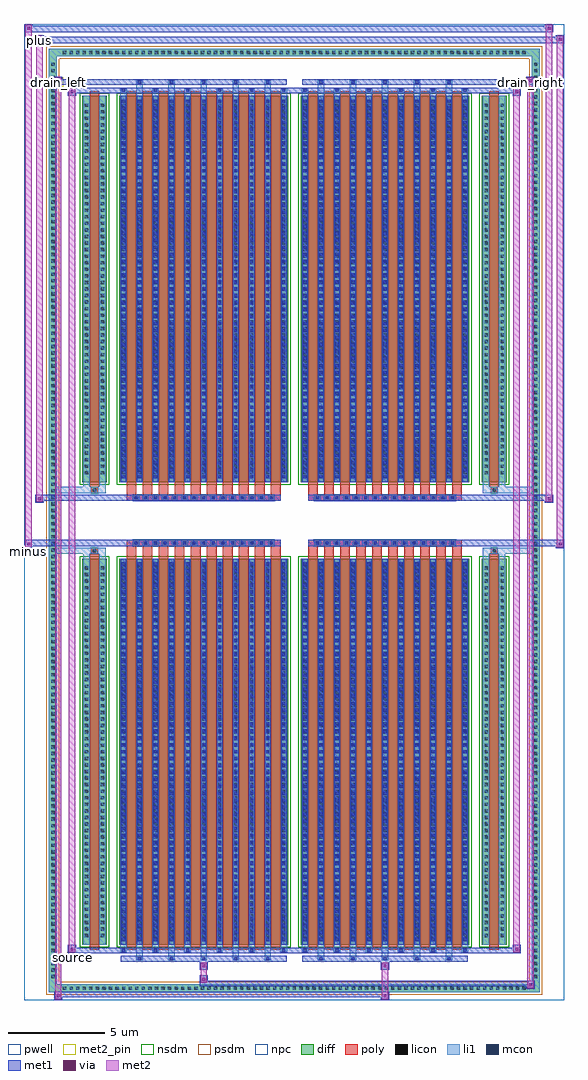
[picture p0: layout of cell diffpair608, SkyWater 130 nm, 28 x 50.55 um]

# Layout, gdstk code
import gdstk
lib = gdstk.Library(unit=1e-6, precision=5e-09)
def R(c, l, rs):  # rectangles x0, y0, x1, y1
    for r in rs: c.add(gdstk.rectangle(r[:2], r[2:], *l))
def A(c, l, x, y, w, h, nx, ny, dx, dy):  # array of equal rectangles
    R(c, l, [(x+i*dx, y+j*dy, x+i*dx+w, y+j*dy+h) for i in range(nx) for j in range(ny)])
def P(c, l, *ps):  # polygons
    for p in ps: c.add(gdstk.Polygon(p, *l))
pwell = (64, 44)
diff = (65, 20)
poly = (66, 20)
licon = (66, 44)
li1 = (67, 20)
mcon = (67, 44)
met1 = (68, 20)
via = (68, 44)
met2_pin = (69, 16)
met2 = (69, 20)
nsdm = (93, 44)
psdm = (94, 20)
npc = (95, 20)

diffpair608 = lib.new_cell('diffpair608')
R(diffpair608, pwell, [(-13.98,-24.84,13.98,25.71), (-11.3,-23.03,-0.01,-0.805), (0.01,-23.03,11.3,-0.805), (-11.3,0.805,-0.01,23.03), (0.01,0.805,11.3,23.03)])
A(diffpair608, diff, -12.105, -24.44, 0.41, 0.41, 71, 2, 0.34, 48.47)
A(diffpair608, diff, -12.71, -23.835, 0.41, 0.41, 1, 140, 0, 0.34)
A(diffpair608, diff, 12.3, -23.835, 0.41, 0.41, 1, 140, 0, 0.34)
R(diffpair608, diff, [(-12.105,-24.44,12.105,-24.03), (-12.71,-23.835,-12.3,23.835), (12.3,-23.835,12.71,23.835), (-10.99,-21.985,-9.71,-1.985), (-9.07,-21.985,-0.32,-1.985), (0.32,-21.985,9.07,-1.985), (9.71,-21.985,10.99,-1.985), (-10.99,1.985,-9.71,21.985), (-9.07,1.985,-0.32,21.985), (0.32,1.985,9.07,21.985), (9.71,1.985,10.99,21.985), (-12.105,24.03,12.105,24.44)])
P(diffpair608, diff, [(12.71,24.44),(-12.71,24.44),(-12.71,-24.03),(-12.3,-24.03),(-12.3,24.03),(12.3,24.03),(12.3,-24.03),(-12.3,-24.03),(-12.71,-24.03),(-12.71,-24.44),(12.71,-24.44)])
A(diffpair608, poly, -8.68, -22.235, 0.5, 20.5, 10, 2, 0.83, 23.97)
A(diffpair608, poly, 0.71, -22.235, 0.5, 20.5, 10, 2, 0.83, 23.97)
A(diffpair608, poly, -8.68, -1.735, 0.5, 0.4, 10, 2, 0.83, 3.07)
A(diffpair608, poly, 0.71, -1.735, 0.5, 0.4, 10, 2, 0.83, 3.07)
A(diffpair608, poly, -8.36, -1.335, 0.33, 0.33, 15, 2, 0.5, 2.34)
A(diffpair608, poly, 1.03, -1.335, 0.33, 0.33, 15, 2, 0.5, 2.34)
R(diffpair608, poly, [(-10.6,-22.235,-10.1,-1.735), (10.1,-22.235,10.6,-1.735), (-10.515,-1.735,-10.185,-1.405), (-10.515,-1.735,-10.185,-1.405), (10.185,-1.735,10.515,-1.405), (10.185,-1.735,10.515,-1.405), (-8.68,-1.335,-0.71,-1.005), (0.71,-1.335,8.68,-1.005), (-8.68,1.005,-0.71,1.335), (0.71,1.005,8.68,1.335), (-10.515,1.405,-10.185,1.735), (-10.515,1.405,-10.185,1.735), (10.185,1.405,10.515,1.735), (10.185,1.405,10.515,1.735), (-10.6,1.735,-10.1,22.235), (10.1,1.735,10.6,22.235)])
A(diffpair608, licon, -11.985, -24.32, 0.17, 0.17, 71, 2, 0.34, 48.47)
A(diffpair608, licon, -12.59, -23.715, 0.17, 0.17, 1, 140, 0, 0.34)
A(diffpair608, licon, 12.42, -23.715, 0.17, 0.17, 1, 140, 0, 0.34)
A(diffpair608, licon, -10.85, -21.59, 0.17, 0.17, 1, 57, 0, 0.34)
A(diffpair608, licon, -10.02, -21.59, 0.17, 0.17, 1, 57, 0, 0.34)
A(diffpair608, licon, -8.93, -21.59, 0.17, 0.17, 11, 57, 0.83, 0.34)
A(diffpair608, licon, 0.46, -21.59, 0.17, 0.17, 11, 57, 0.83, 0.34)
A(diffpair608, licon, 9.85, -21.59, 0.17, 0.17, 1, 57, 0, 0.34)
A(diffpair608, licon, 10.68, -21.59, 0.17, 0.17, 1, 57, 0, 0.34)
A(diffpair608, licon, -8.28, -1.255, 0.17, 0.17, 15, 2, 0.5, 2.34)
A(diffpair608, licon, 1.11, -1.255, 0.17, 0.17, 15, 2, 0.5, 2.34)
A(diffpair608, licon, -10.85, 2.38, 0.17, 0.17, 1, 57, 0, 0.34)
A(diffpair608, licon, -10.02, 2.38, 0.17, 0.17, 1, 57, 0, 0.34)
A(diffpair608, licon, -8.93, 2.38, 0.17, 0.17, 11, 57, 0.83, 0.34)
A(diffpair608, licon, 0.46, 2.38, 0.17, 0.17, 11, 57, 0.83, 0.34)
A(diffpair608, licon, 9.85, 2.38, 0.17, 0.17, 1, 57, 0, 0.34)
A(diffpair608, licon, 10.68, 2.38, 0.17, 0.17, 1, 57, 0, 0.34)
R(diffpair608, licon, [(-10.435,-1.655,-10.265,-1.485), (10.265,-1.655,10.435,-1.485), (-10.435,1.485,-10.265,1.655), (10.265,1.485,10.435,1.655)])
A(diffpair608, li1, -12.065, -24.4, 0.33, 0.33, 71, 2, 0.34, 48.47)
A(diffpair608, li1, -12.67, -23.795, 0.33, 0.33, 1, 140, 0, 0.34)
A(diffpair608, li1, 12.34, -23.795, 0.33, 0.33, 1, 140, 0, 0.34)
A(diffpair608, li1, -8.18, -22.79, 0.33, 0.805, 5, 2, 1.66, 44.775)
A(diffpair608, li1, -8.1, -22.79, 0.17, 0.17, 5, 2, 1.66, 45.41)
A(diffpair608, li1, 1.21, -22.79, 0.33, 0.805, 5, 2, 1.66, 44.775)
A(diffpair608, li1, 1.29, -22.79, 0.17, 0.17, 5, 2, 1.66, 45.41)
A(diffpair608, li1, -9.01, -22.36, 0.33, 0.375, 6, 2, 1.66, 44.345)
A(diffpair608, li1, -8.93, -22.36, 0.17, 0.17, 6, 2, 1.66, 44.55)
A(diffpair608, li1, 0.38, -22.36, 0.33, 0.375, 6, 2, 1.66, 44.345)
A(diffpair608, li1, 0.46, -22.36, 0.17, 0.17, 6, 2, 1.66, 44.55)
A(diffpair608, li1, -9.01, -21.985, 0.33, 20, 11, 2, 0.83, 23.97)
A(diffpair608, li1, 0.38, -21.985, 0.33, 20, 11, 2, 0.83, 23.97)
A(diffpair608, li1, -8.93, -21.79, 0.17, 0.17, 11, 55, 0.83, 0.36)
A(diffpair608, li1, -8.93, -21.79, 0.17, 19.61, 11, 2, 0.83, 23.97)
A(diffpair608, li1, 0.46, -21.79, 0.17, 0.17, 11, 55, 0.83, 0.36)
A(diffpair608, li1, 0.46, -21.79, 0.17, 19.61, 11, 2, 0.83, 23.97)
A(diffpair608, li1, -10.93, -21.67, 0.33, 0.33, 1, 57, 0, 0.34)
A(diffpair608, li1, -10.1, -21.67, 0.33, 0.33, 1, 57, 0, 0.34)
A(diffpair608, li1, -9.01, -21.67, 0.33, 0.33, 11, 57, 0.83, 0.34)
A(diffpair608, li1, 0.38, -21.67, 0.33, 0.33, 11, 57, 0.83, 0.34)
A(diffpair608, li1, 9.77, -21.67, 0.33, 0.33, 1, 57, 0, 0.34)
A(diffpair608, li1, 10.6, -21.67, 0.33, 0.33, 1, 57, 0, 0.34)
A(diffpair608, li1, -8.36, -1.335, 0.33, 0.33, 15, 2, 0.5, 2.34)
A(diffpair608, li1, 1.03, -1.335, 0.33, 0.33, 15, 2, 0.5, 2.34)
A(diffpair608, li1, -8.93, 2.18, 0.17, 0.17, 11, 55, 0.83, 0.36)
A(diffpair608, li1, 0.46, 2.18, 0.17, 0.17, 11, 55, 0.83, 0.36)
A(diffpair608, li1, -10.93, 2.3, 0.33, 0.33, 1, 57, 0, 0.34)
A(diffpair608, li1, -10.1, 2.3, 0.33, 0.33, 1, 57, 0, 0.34)
A(diffpair608, li1, -9.01, 2.3, 0.33, 0.33, 11, 57, 0.83, 0.34)
A(diffpair608, li1, 0.38, 2.3, 0.33, 0.33, 11, 57, 0.83, 0.34)
A(diffpair608, li1, 9.77, 2.3, 0.33, 0.33, 1, 57, 0, 0.34)
A(diffpair608, li1, 10.6, 2.3, 0.33, 0.33, 1, 57, 0, 0.34)
R(diffpair608, li1, [(-12.71,-24.44,-12.3,-24.03), (-12.71,-24.44,-12.3,-24.03), (-12.3,-24.44,12.3,-24.03), (12.3,-24.44,12.71,-24.03), (12.3,-24.44,12.71,-24.03), (-12.71,-24.03,-12.3,24.03), (12.3,-24.03,12.71,24.03), (-10.93,-21.985,-10.6,-1.985), (-10.1,-21.985,-9.77,-1.985), (9.77,-21.985,10.1,-1.985), (10.6,-21.985,10.93,-1.985), (-10.93,-1.985,-10.6,-1.405), (-10.1,-1.985,-9.77,-1.405), (9.77,-1.985,10.1,-1.405), (10.6,-1.985,10.93,-1.405), (-12.71,-1.735,-10.515,-1.405), (-10.93,-1.735,-10.515,-1.405), (-10.515,-1.735,-10.185,-1.405), (-10.185,-1.735,-9.77,-1.405), (9.77,-1.735,10.185,-1.405), (10.185,-1.735,10.515,-1.405), (10.185,-1.735,12.71,-1.405), (10.515,-1.735,10.93,-1.405), (-12.71,1.405,-10.515,1.735), (-10.93,1.405,-10.515,1.735), (-10.93,1.405,-10.6,1.985), (-10.515,1.405,-10.185,1.735), (-10.185,1.405,-9.77,1.735), (-10.1,1.405,-9.77,1.985), (9.77,1.405,10.185,1.735), (9.77,1.405,10.1,1.985), (10.185,1.405,10.515,1.735), (10.185,1.405,12.71,1.735), (10.515,1.405,10.93,1.735), (10.6,1.405,10.93,1.985), (-10.93,1.985,-10.6,21.985), (-10.1,1.985,-9.77,21.985), (9.77,1.985,10.1,21.985), (10.6,1.985,10.93,21.985), (-12.71,24.03,-12.3,24.44), (-12.71,24.03,-12.3,24.44), (-12.3,24.03,12.3,24.44), (12.3,24.03,12.71,24.44), (12.3,24.03,12.71,24.44)])
A(diffpair608, mcon, -8.1, -22.79, 0.17, 0.17, 5, 2, 1.66, 45.41)
A(diffpair608, mcon, 1.29, -22.79, 0.17, 0.17, 5, 2, 1.66, 45.41)
A(diffpair608, mcon, -8.93, -22.36, 0.17, 0.17, 6, 2, 1.66, 44.55)
A(diffpair608, mcon, 0.46, -22.36, 0.17, 0.17, 6, 2, 1.66, 44.55)
A(diffpair608, mcon, -8.93, -21.79, 0.17, 0.17, 11, 55, 0.83, 0.36)
A(diffpair608, mcon, 0.46, -21.79, 0.17, 0.17, 11, 55, 0.83, 0.36)
A(diffpair608, mcon, -8.28, -1.255, 0.17, 0.17, 15, 2, 0.5, 2.34)
A(diffpair608, mcon, 1.11, -1.255, 0.17, 0.17, 15, 2, 0.5, 2.34)
A(diffpair608, mcon, -8.93, 2.18, 0.17, 0.17, 11, 55, 0.83, 0.36)
A(diffpair608, mcon, 0.46, 2.18, 0.17, 0.17, 11, 55, 0.83, 0.36)
A(diffpair608, met1, -8.16, -22.85, 0.29, 0.29, 5, 2, 1.66, 45.41)
A(diffpair608, met1, 1.23, -22.85, 0.29, 0.29, 5, 2, 1.66, 45.41)
A(diffpair608, met1, -8.99, -22.42, 0.29, 0.29, 6, 2, 1.66, 44.55)
A(diffpair608, met1, 0.4, -22.42, 0.29, 0.29, 6, 2, 1.66, 44.55)
A(diffpair608, met1, -8.99, -21.985, 0.29, 20, 11, 2, 0.83, 23.97)
A(diffpair608, met1, 0.4, -21.985, 0.29, 20, 11, 2, 0.83, 23.97)
A(diffpair608, met1, -8.99, -21.85, 0.29, 0.29, 11, 55, 0.83, 0.36)
A(diffpair608, met1, 0.4, -21.85, 0.29, 0.29, 11, 55, 0.83, 0.36)
A(diffpair608, met1, -8.34, -1.315, 0.29, 0.29, 15, 2, 0.5, 2.34)
A(diffpair608, met1, 1.05, -1.315, 0.29, 0.29, 15, 2, 0.5, 2.34)
A(diffpair608, met1, -8.99, 2.12, 0.29, 0.29, 11, 55, 0.83, 0.36)
A(diffpair608, met1, 0.4, 2.12, 0.29, 0.29, 11, 55, 0.83, 0.36)
R(diffpair608, met1, [(-12.44,-24.84,-12.01,-24.41), (4.48,-24.84,4.91,-24.41), (-12.44,-24.7,4.91,-24.41), (12.01,-24.27,12.44,-23.84), (-4.91,-24.13,12.44,-23.84), (-4.91,-23.99,-4.48,-23.56), (-4.91,-23.28,-4.48,-22.85), (4.48,-23.28,4.91,-22.85), (-8.99,-22.85,-0.4,-22.56), (0.4,-22.85,8.99,-22.56), (-11.73,-22.42,-11.3,-21.99), (-11.73,-22.42,-8.99,-22.13), (-8.99,-22.42,-0.4,-22.13), (-0.4,-22.42,0.4,-22.13), (0.4,-22.42,8.99,-22.13), (8.99,-22.42,11.73,-22.13), (11.3,-22.42,11.73,-21.99), (-13.98,-1.435,-13.55,-1.005), (13.55,-1.435,13.98,-1.005), (-13.98,-1.335,-0.71,-1.005), (-8.68,-1.335,-0.71,-1.005), (0.71,-1.335,8.68,-1.005), (0.71,-1.335,13.98,-1.005), (-13.41,0.905,-12.98,1.335), (12.98,0.905,13.41,1.335), (-13.41,1.005,-8.68,1.335), (-8.68,1.005,-0.71,1.335), (0.71,1.005,8.68,1.335), (8.68,1.005,13.41,1.335), (-11.73,21.99,-11.3,22.42), (11.3,21.99,11.73,22.42), (-11.73,22.13,-8.99,22.42), (-8.99,22.13,-0.4,22.42), (-0.4,22.13,0.4,22.42), (0.4,22.13,8.99,22.42), (8.99,22.13,11.73,22.42), (-12.44,22.56,-12.01,22.99), (-12.44,22.56,-8.99,22.85), (-8.99,22.56,-0.4,22.85), (0.4,22.56,8.99,22.85), (8.99,22.56,12.44,22.85), (12.01,22.56,12.44,22.99), (-13.41,24.71,-12.98,25.14), (-13.41,24.71,-11.3,25.04), (-11.3,24.71,11.3,25.04), (11.3,24.71,13.98,25.04), (13.55,24.71,13.98,25.14), (-13.98,25.28,-13.55,25.71), (-13.98,25.28,-11.3,25.61), (-11.3,25.28,11.3,25.61), (11.3,25.28,13.41,25.61), (12.98,25.28,13.41,25.71)])
R(diffpair608, via, [(-12.3,-24.7,-12.15,-24.55), (4.62,-24.7,4.77,-24.55), (12.15,-24.13,12.3,-23.98), (-4.77,-23.85,-4.62,-23.7), (-4.77,-23.14,-4.62,-22.99), (4.62,-23.14,4.77,-22.99), (-11.59,-22.28,-11.44,-22.13), (11.44,-22.28,11.59,-22.13), (-13.84,-1.295,-13.69,-1.145), (13.69,-1.295,13.84,-1.145), (-13.27,1.045,-13.12,1.195), (13.12,1.045,13.27,1.195), (-11.59,22.13,-11.44,22.28), (11.44,22.13,11.59,22.28), (-12.3,22.7,-12.15,22.85), (12.15,22.7,12.3,22.85), (-13.27,24.85,-13.12,25), (13.69,24.85,13.84,25), (-13.84,25.42,-13.69,25.57), (13.12,25.42,13.27,25.57)])
R(diffpair608, met2_pin, [(-11.765,-22.87,-11.265,-22.37), (-14.015,-1.885,-13.515,-1.385), (-12.475,22.44,-11.975,22.94), (11.975,22.44,12.475,22.94), (-13.445,24.59,-12.945,25.09)])
R(diffpair608, met2, [(-12.39,-24.79,-12.06,-24.46), (-12.39,-24.79,-12.06,22.94), (4.53,-24.79,4.86,-24.46), (4.53,-24.46,4.86,-23.23), (12.06,-24.22,12.39,-23.89), (12.06,-24.22,12.39,22.94), (-4.86,-23.94,-4.53,-23.61), (-4.86,-23.61,-4.53,-23.23), (-4.86,-23.23,-4.53,-22.9), (4.53,-23.23,4.86,-22.9), (-11.68,-22.37,-11.35,-22.04), (-11.68,-22.37,-11.35,22.37), (11.35,-22.37,11.68,-22.04), (11.35,-22.37,11.68,22.37), (-13.93,-1.385,-13.6,-1.055), (-13.93,-1.385,-13.6,25.66), (13.6,-1.385,13.93,-1.055), (13.6,-1.385,13.93,25.09), (-13.36,0.955,-13.03,1.285), (-13.36,0.955,-13.03,25.09), (13.03,0.955,13.36,1.285), (13.03,0.955,13.36,25.66), (-11.68,22.04,-11.35,22.37), (11.35,22.04,11.68,22.37), (-12.39,22.61,-12.06,22.94), (12.06,22.61,12.39,22.94), (-13.36,24.76,-13.03,25.09), (13.6,24.76,13.93,25.09), (-13.93,25.33,-13.6,25.66), (13.03,25.33,13.36,25.66)])
P(diffpair608, met2, [(13.93,-1.385),(13.93,-1.385),(13.93,-1.055),(13.93,-1.055)],
  [(13.93,24.76),(13.93,24.76),(13.93,25.09),(13.93,25.09)],
  [(-13.6,-1.385),(-13.6,-1.385),(-13.6,-1.055),(-13.6,-1.055)],
  [(-13.6,25.33),(-13.6,25.33),(-13.6,25.66),(-13.6,25.66)],
  [(13.36,0.955),(13.36,0.955),(13.36,1.285),(13.36,1.285)],
  [(13.36,25.33),(13.36,25.33),(13.36,25.66),(13.36,25.66)],
  [(-13.03,0.955),(-13.03,0.955),(-13.03,1.285),(-13.03,1.285)],
  [(-13.03,24.76),(-13.03,24.76),(-13.03,25.09),(-13.03,25.09)],
  [(-12.06,-24.79),(-12.06,-24.79),(-12.06,-24.46),(-12.06,-24.46)],
  [(-12.06,22.61),(-12.06,22.61),(-12.06,22.94),(-12.06,22.94)],
  [(12.39,-24.22),(12.39,-24.22),(12.39,-23.89),(12.39,-23.89)],
  [(12.39,22.61),(12.39,22.61),(12.39,22.94),(12.39,22.94)],
  [(-11.35,-22.37),(-11.35,-22.37),(-11.35,-22.04),(-11.35,-22.04)],
  [(-11.35,22.04),(-11.35,22.04),(-11.35,22.37),(-11.35,22.37)],
  [(11.68,-22.37),(11.68,-22.37),(11.68,-22.04),(11.68,-22.04)],
  [(11.68,22.04),(11.68,22.04),(11.68,22.37),(11.68,22.37)])
R(diffpair608, nsdm, [(-11.12,-22.115,-9.58,-1.855), (-9.2,-22.115,-0.19,-1.855), (0.19,-22.115,9.2,-1.855), (9.58,-22.115,11.12,-1.855), (-11.12,1.855,-9.58,22.115), (-9.2,1.855,-0.19,22.115), (0.19,1.855,9.2,22.115), (9.58,1.855,11.12,22.115)])
P(diffpair608, psdm, [(12.84,24.57),(-12.84,24.57),(-12.84,-23.9),(-12.17,-23.9),(-12.17,23.9),(12.17,23.9),(12.17,-23.9),(-12.17,-23.9),(-12.84,-23.9),(-12.84,-24.57),(12.84,-24.57)])
A(diffpair608, npc, -8.38, -1.355, 0.37, 0.37, 15, 2, 0.5, 2.34)
A(diffpair608, npc, 1.01, -1.355, 0.37, 0.37, 15, 2, 0.5, 2.34)
R(diffpair608, npc, [(-10.535,-1.755,-10.165,-1.385), (10.165,-1.755,10.535,-1.385), (-8.38,-1.355,-7.51,-0.985), (-8.38,-1.355,-7.51,-0.985), (-7.88,-1.355,-7.01,-0.985), (-7.88,-1.355,-7.01,-0.985), (-7.38,-1.355,-6.51,-0.985), (-7.38,-1.355,-6.51,-0.985), (-6.88,-1.355,-6.01,-0.985), (-6.88,-1.355,-6.01,-0.985), (-6.38,-1.355,-5.51,-0.985), (-6.38,-1.355,-5.51,-0.985), (-5.88,-1.355,-5.01,-0.985), (-5.88,-1.355,-5.01,-0.985), (-5.38,-1.355,-4.51,-0.985), (-5.38,-1.355,-4.51,-0.985), (-4.88,-1.355,-4.01,-0.985), (-4.88,-1.355,-4.01,-0.985), (-4.38,-1.355,-3.51,-0.985), (-4.38,-1.355,-3.51,-0.985), (-3.88,-1.355,-3.01,-0.985), (-3.88,-1.355,-3.01,-0.985), (-3.38,-1.355,-2.51,-0.985), (-3.38,-1.355,-2.51,-0.985), (-2.88,-1.355,-2.01,-0.985), (-2.88,-1.355,-2.01,-0.985), (-2.38,-1.355,-1.51,-0.985), (-2.38,-1.355,-1.51,-0.985), (-1.88,-1.355,-1.01,-0.985), (-1.88,-1.355,-1.01,-0.985), (1.01,-1.355,1.88,-0.985), (1.01,-1.355,1.88,-0.985), (1.51,-1.355,2.38,-0.985), (1.51,-1.355,2.38,-0.985), (2.01,-1.355,2.88,-0.985), (2.01,-1.355,2.88,-0.985), (2.51,-1.355,3.38,-0.985), (2.51,-1.355,3.38,-0.985), (3.01,-1.355,3.88,-0.985), (3.01,-1.355,3.88,-0.985), (3.51,-1.355,4.38,-0.985), (3.51,-1.355,4.38,-0.985), (4.01,-1.355,4.88,-0.985), (4.01,-1.355,4.88,-0.985), (4.51,-1.355,5.38,-0.985), (4.51,-1.355,5.38,-0.985), (5.01,-1.355,5.88,-0.985), (5.01,-1.355,5.88,-0.985), (5.51,-1.355,6.38,-0.985), (5.51,-1.355,6.38,-0.985), (6.01,-1.355,6.88,-0.985), (6.01,-1.355,6.88,-0.985), (6.51,-1.355,7.38,-0.985), (6.51,-1.355,7.38,-0.985), (7.01,-1.355,7.88,-0.985), (7.01,-1.355,7.88,-0.985), (7.51,-1.355,8.38,-0.985), (7.51,-1.355,8.38,-0.985), (-8.38,0.985,-7.51,1.355), (-8.38,0.985,-7.51,1.355), (-7.88,0.985,-7.01,1.355), (-7.88,0.985,-7.01,1.355), (-7.38,0.985,-6.51,1.355), (-7.38,0.985,-6.51,1.355), (-6.88,0.985,-6.01,1.355), (-6.88,0.985,-6.01,1.355), (-6.38,0.985,-5.51,1.355), (-6.38,0.985,-5.51,1.355), (-5.88,0.985,-5.01,1.355), (-5.88,0.985,-5.01,1.355), (-5.38,0.985,-4.51,1.355), (-5.38,0.985,-4.51,1.355), (-4.88,0.985,-4.01,1.355), (-4.88,0.985,-4.01,1.355), (-4.38,0.985,-3.51,1.355), (-4.38,0.985,-3.51,1.355), (-3.88,0.985,-3.01,1.355), (-3.88,0.985,-3.01,1.355), (-3.38,0.985,-2.51,1.355), (-3.38,0.985,-2.51,1.355), (-2.88,0.985,-2.01,1.355), (-2.88,0.985,-2.01,1.355), (-2.38,0.985,-1.51,1.355), (-2.38,0.985,-1.51,1.355), (-1.88,0.985,-1.01,1.355), (-1.88,0.985,-1.01,1.355), (1.01,0.985,1.88,1.355), (1.01,0.985,1.88,1.355), (1.51,0.985,2.38,1.355), (1.51,0.985,2.38,1.355), (2.01,0.985,2.88,1.355), (2.01,0.985,2.88,1.355), (2.51,0.985,3.38,1.355), (2.51,0.985,3.38,1.355), (3.01,0.985,3.88,1.355), (3.01,0.985,3.88,1.355), (3.51,0.985,4.38,1.355), (3.51,0.985,4.38,1.355), (4.01,0.985,4.88,1.355), (4.01,0.985,4.88,1.355), (4.51,0.985,5.38,1.355), (4.51,0.985,5.38,1.355), (5.01,0.985,5.88,1.355), (5.01,0.985,5.88,1.355), (5.51,0.985,6.38,1.355), (5.51,0.985,6.38,1.355), (6.01,0.985,6.88,1.355), (6.01,0.985,6.88,1.355), (6.51,0.985,7.38,1.355), (6.51,0.985,7.38,1.355), (7.01,0.985,7.88,1.355), (7.01,0.985,7.88,1.355), (7.51,0.985,8.38,1.355), (7.51,0.985,8.38,1.355), (-10.535,1.385,-10.165,1.755), (10.165,1.385,10.535,1.755)])
diffpair608.add(gdstk.Label('minus', (-13.765,-1.635), layer=69, texttype=5))
diffpair608.add(gdstk.Label('drain_right', (12.225,22.69), layer=69, texttype=5))
diffpair608.add(gdstk.Label('drain_left', (-12.225,22.69), layer=69, texttype=5))
diffpair608.add(gdstk.Label('source', (-11.515,-22.62), layer=69, texttype=5))
diffpair608.add(gdstk.Label('plus', (-13.195,24.84), layer=69, texttype=5))

lib.write_gds('diffpair608.gds')
